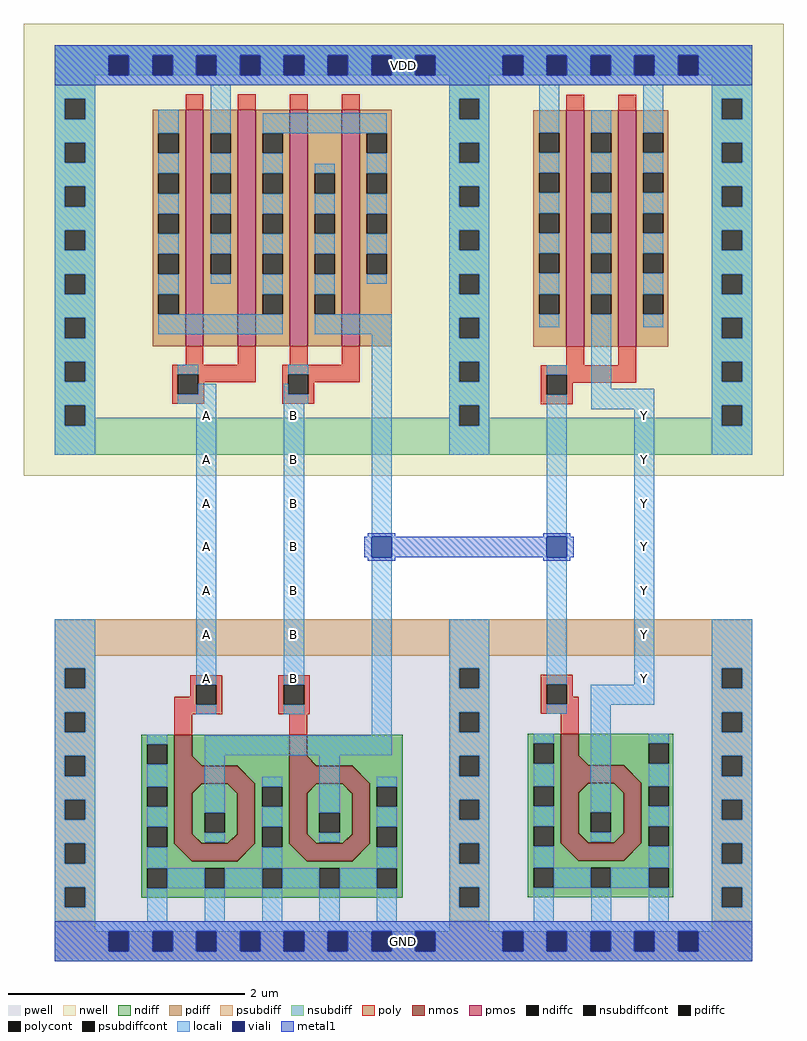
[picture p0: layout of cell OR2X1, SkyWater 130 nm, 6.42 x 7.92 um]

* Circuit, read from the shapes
.subckt OR2X1 Y A B VDD GND
XM1 GND A n1 GND sky130_fd_pr__nfet_01v8 w=2.56 l=0.1473
XM2 GND B n1 GND sky130_fd_pr__nfet_01v8 w=2.56 l=0.1468
XM3 GND n1 Y GND sky130_fd_pr__nfet_01v8 w=2.56 l=0.1516
XM4 VDD A n2 VDD sky130_fd_pr__pfet_01v8 w=2 l=0.15 m=2
XM5 n1 B n2 VDD sky130_fd_pr__pfet_01v8 w=2 l=0.15 m=2
XM6 Y n1 VDD VDD sky130_fd_pr__pfet_01v8 w=2 l=0.15 m=2
.ends

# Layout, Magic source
magic
tech sky130A
magscale 1 2
<< nwell >>
rect -87 786 1197 1550
<< pwell >>
rect -34 -34 1144 544
<< nmos >>
rect 168 296 198 349
tri 198 296 214 312 sw
rect 362 296 392 349
tri 392 296 408 312 sw
rect 168 266 274 296
tri 274 266 304 296 sw
rect 168 165 198 266
tri 198 250 214 266 nw
tri 258 250 274 266 ne
tri 198 165 214 181 sw
tri 258 165 274 181 se
rect 274 165 304 266
rect 362 266 468 296
tri 468 266 498 296 sw
rect 362 251 393 266
tri 393 251 408 266 nw
tri 452 251 467 266 ne
rect 467 251 498 266
tri 168 135 198 165 ne
rect 198 135 274 165
tri 274 135 304 165 nw
rect 362 165 392 251
tri 392 165 408 181 sw
tri 452 165 468 181 se
rect 468 165 498 251
tri 362 135 392 165 ne
rect 392 135 468 165
tri 468 135 498 165 nw
rect 821 297 851 350
tri 851 297 867 313 sw
rect 821 267 927 297
tri 927 267 957 297 sw
rect 821 166 851 267
tri 851 251 867 267 nw
tri 911 251 927 267 ne
tri 851 166 867 182 sw
tri 911 166 927 182 se
rect 927 166 957 267
tri 821 136 851 166 ne
rect 851 136 927 166
tri 927 136 957 166 nw
<< pmos >>
rect 187 1005 217 1405
rect 275 1005 305 1405
rect 363 1005 393 1405
rect 451 1005 481 1405
rect 830 1004 860 1404
rect 918 1004 948 1404
<< ndiff >>
rect 112 333 168 349
rect 112 299 122 333
rect 156 299 168 333
rect 112 261 168 299
rect 198 312 362 349
tri 198 296 214 312 ne
rect 214 296 362 312
rect 392 312 554 349
tri 392 296 408 312 ne
rect 408 296 554 312
tri 274 266 304 296 ne
rect 112 227 122 261
rect 156 227 168 261
rect 112 193 168 227
rect 112 159 122 193
rect 156 159 168 193
tri 198 250 214 266 se
rect 214 250 258 266
tri 258 250 274 266 sw
rect 198 217 274 250
rect 198 183 219 217
rect 253 183 274 217
rect 198 181 274 183
tri 198 165 214 181 ne
rect 214 165 258 181
tri 258 165 274 181 nw
rect 304 261 362 296
tri 468 266 498 296 ne
rect 304 227 316 261
rect 350 227 362 261
tri 393 251 408 266 se
rect 408 251 452 266
tri 452 251 467 266 sw
rect 498 261 554 296
rect 304 193 362 227
rect 112 135 168 159
tri 168 135 198 165 sw
tri 274 135 304 165 se
rect 304 159 316 193
rect 350 159 362 193
rect 392 217 468 251
rect 392 183 413 217
rect 447 183 468 217
rect 392 181 468 183
tri 392 165 408 181 ne
rect 408 165 452 181
tri 452 165 468 181 nw
rect 498 227 510 261
rect 544 227 554 261
rect 498 193 554 227
rect 304 135 362 159
tri 362 135 392 165 sw
tri 468 135 498 165 se
rect 498 159 510 193
rect 544 159 554 193
rect 498 135 554 159
rect 112 123 554 135
rect 112 89 122 123
rect 156 89 219 123
rect 253 89 316 123
rect 350 89 413 123
rect 447 89 510 123
rect 544 89 554 123
rect 112 73 554 89
rect 765 334 821 350
rect 765 300 775 334
rect 809 300 821 334
rect 765 262 821 300
rect 851 334 1011 350
rect 851 313 969 334
tri 851 297 867 313 ne
rect 867 300 969 313
rect 1003 300 1011 334
rect 867 297 1011 300
tri 927 267 957 297 ne
rect 765 228 775 262
rect 809 228 821 262
rect 765 194 821 228
rect 765 160 775 194
rect 809 160 821 194
tri 851 251 867 267 se
rect 867 251 911 267
tri 911 251 927 267 sw
rect 851 218 927 251
rect 851 184 871 218
rect 905 184 927 218
rect 851 182 927 184
tri 851 166 867 182 ne
rect 867 166 911 182
tri 911 166 927 182 nw
rect 957 262 1011 297
rect 957 228 969 262
rect 1003 228 1011 262
rect 957 194 1011 228
rect 765 136 821 160
tri 821 136 851 166 sw
tri 927 136 957 166 se
rect 957 160 969 194
rect 1003 160 1011 194
rect 957 136 1011 160
rect 765 124 1011 136
rect 765 90 775 124
rect 809 90 871 124
rect 905 90 969 124
rect 1003 90 1011 124
rect 765 74 1011 90
<< pdiff >>
rect 131 1365 187 1405
rect 131 1331 141 1365
rect 175 1331 187 1365
rect 131 1297 187 1331
rect 131 1263 141 1297
rect 175 1263 187 1297
rect 131 1229 187 1263
rect 131 1195 141 1229
rect 175 1195 187 1229
rect 131 1161 187 1195
rect 131 1127 141 1161
rect 175 1127 187 1161
rect 131 1093 187 1127
rect 131 1059 141 1093
rect 175 1059 187 1093
rect 131 1005 187 1059
rect 217 1365 275 1405
rect 217 1331 229 1365
rect 263 1331 275 1365
rect 217 1297 275 1331
rect 217 1263 229 1297
rect 263 1263 275 1297
rect 217 1229 275 1263
rect 217 1195 229 1229
rect 263 1195 275 1229
rect 217 1161 275 1195
rect 217 1127 229 1161
rect 263 1127 275 1161
rect 217 1005 275 1127
rect 305 1365 363 1405
rect 305 1331 317 1365
rect 351 1331 363 1365
rect 305 1297 363 1331
rect 305 1263 317 1297
rect 351 1263 363 1297
rect 305 1229 363 1263
rect 305 1195 317 1229
rect 351 1195 363 1229
rect 305 1161 363 1195
rect 305 1127 317 1161
rect 351 1127 363 1161
rect 305 1093 363 1127
rect 305 1059 317 1093
rect 351 1059 363 1093
rect 305 1005 363 1059
rect 393 1297 451 1405
rect 393 1263 405 1297
rect 439 1263 451 1297
rect 393 1229 451 1263
rect 393 1195 405 1229
rect 439 1195 451 1229
rect 393 1161 451 1195
rect 393 1127 405 1161
rect 439 1127 451 1161
rect 393 1093 451 1127
rect 393 1059 405 1093
rect 439 1059 451 1093
rect 393 1005 451 1059
rect 481 1365 535 1405
rect 481 1331 493 1365
rect 527 1331 535 1365
rect 481 1297 535 1331
rect 481 1263 493 1297
rect 527 1263 535 1297
rect 481 1229 535 1263
rect 481 1195 493 1229
rect 527 1195 535 1229
rect 481 1161 535 1195
rect 481 1127 493 1161
rect 527 1127 535 1161
rect 481 1005 535 1127
rect 774 1366 830 1404
rect 774 1332 784 1366
rect 818 1332 830 1366
rect 774 1298 830 1332
rect 774 1264 784 1298
rect 818 1264 830 1298
rect 774 1230 830 1264
rect 774 1196 784 1230
rect 818 1196 830 1230
rect 774 1162 830 1196
rect 774 1128 784 1162
rect 818 1128 830 1162
rect 774 1093 830 1128
rect 774 1059 784 1093
rect 818 1059 830 1093
rect 774 1004 830 1059
rect 860 1366 918 1404
rect 860 1332 872 1366
rect 906 1332 918 1366
rect 860 1298 918 1332
rect 860 1264 872 1298
rect 906 1264 918 1298
rect 860 1230 918 1264
rect 860 1196 872 1230
rect 906 1196 918 1230
rect 860 1162 918 1196
rect 860 1128 872 1162
rect 906 1128 918 1162
rect 860 1093 918 1128
rect 860 1059 872 1093
rect 906 1059 918 1093
rect 860 1004 918 1059
rect 948 1366 1002 1404
rect 948 1332 960 1366
rect 994 1332 1002 1366
rect 948 1298 1002 1332
rect 948 1264 960 1298
rect 994 1264 1002 1298
rect 948 1230 1002 1264
rect 948 1196 960 1230
rect 994 1196 1002 1230
rect 948 1162 1002 1196
rect 948 1128 960 1162
rect 994 1128 1002 1162
rect 948 1093 1002 1128
rect 948 1059 960 1093
rect 994 1059 1002 1093
rect 948 1004 1002 1059
<< ndiffc >>
rect 122 299 156 333
rect 122 227 156 261
rect 122 159 156 193
rect 219 183 253 217
rect 316 227 350 261
rect 316 159 350 193
rect 413 183 447 217
rect 510 227 544 261
rect 510 159 544 193
rect 122 89 156 123
rect 219 89 253 123
rect 316 89 350 123
rect 413 89 447 123
rect 510 89 544 123
rect 775 300 809 334
rect 969 300 1003 334
rect 775 228 809 262
rect 775 160 809 194
rect 871 184 905 218
rect 969 228 1003 262
rect 969 160 1003 194
rect 775 90 809 124
rect 871 90 905 124
rect 969 90 1003 124
<< pdiffc >>
rect 141 1331 175 1365
rect 141 1263 175 1297
rect 141 1195 175 1229
rect 141 1127 175 1161
rect 141 1059 175 1093
rect 229 1331 263 1365
rect 229 1263 263 1297
rect 229 1195 263 1229
rect 229 1127 263 1161
rect 317 1331 351 1365
rect 317 1263 351 1297
rect 317 1195 351 1229
rect 317 1127 351 1161
rect 317 1059 351 1093
rect 405 1263 439 1297
rect 405 1195 439 1229
rect 405 1127 439 1161
rect 405 1059 439 1093
rect 493 1331 527 1365
rect 493 1263 527 1297
rect 493 1195 527 1229
rect 493 1127 527 1161
rect 784 1332 818 1366
rect 784 1264 818 1298
rect 784 1196 818 1230
rect 784 1128 818 1162
rect 784 1059 818 1093
rect 872 1332 906 1366
rect 872 1264 906 1298
rect 872 1196 906 1230
rect 872 1128 906 1162
rect 872 1059 906 1093
rect 960 1332 994 1366
rect 960 1264 994 1298
rect 960 1196 994 1230
rect 960 1128 994 1162
rect 960 1059 994 1093
<< psubdiff >>
rect -34 482 1144 544
rect -34 461 34 482
rect -34 427 -17 461
rect 17 427 34 461
rect 632 461 700 482
rect -34 387 34 427
rect -34 353 -17 387
rect 17 353 34 387
rect -34 313 34 353
rect 632 427 649 461
rect 683 427 700 461
rect 1076 461 1144 482
rect 632 387 700 427
rect 632 353 649 387
rect 683 353 700 387
rect 1076 427 1093 461
rect 1127 427 1144 461
rect -34 279 -17 313
rect 17 279 34 313
rect -34 239 34 279
rect -34 205 -17 239
rect 17 205 34 239
rect -34 165 34 205
rect -34 131 -17 165
rect 17 131 34 165
rect -34 91 34 131
rect -34 57 -17 91
rect 17 57 34 91
rect 632 313 700 353
rect 1076 387 1144 427
rect 1076 353 1093 387
rect 1127 353 1144 387
rect 632 279 649 313
rect 683 279 700 313
rect 632 239 700 279
rect 632 205 649 239
rect 683 205 700 239
rect 632 165 700 205
rect 632 131 649 165
rect 683 131 700 165
rect 632 91 700 131
rect -34 17 34 57
rect 632 57 649 91
rect 683 57 700 91
rect 1076 313 1144 353
rect 1076 279 1093 313
rect 1127 279 1144 313
rect 1076 239 1144 279
rect 1076 205 1093 239
rect 1127 205 1144 239
rect 1076 165 1144 205
rect 1076 131 1093 165
rect 1127 131 1144 165
rect 1076 91 1144 131
rect 632 17 700 57
rect 1076 57 1093 91
rect 1127 57 1144 91
rect 1076 17 1144 57
rect -34 -17 57 17
rect 91 -17 131 17
rect 165 -17 205 17
rect 239 -17 279 17
rect 313 -17 353 17
rect 387 -17 427 17
rect 461 -17 501 17
rect 535 -17 575 17
rect 609 -17 723 17
rect 757 -17 797 17
rect 831 -17 871 17
rect 905 -17 945 17
rect 979 -17 1019 17
rect 1053 -17 1144 17
rect -34 -34 1144 -17
<< nsubdiff >>
rect -34 1497 1144 1514
rect -34 1463 57 1497
rect 91 1463 131 1497
rect 165 1463 205 1497
rect 239 1463 279 1497
rect 313 1463 353 1497
rect 387 1463 427 1497
rect 461 1463 501 1497
rect 535 1463 575 1497
rect 609 1463 723 1497
rect 757 1463 797 1497
rect 831 1463 871 1497
rect 905 1463 945 1497
rect 979 1463 1019 1497
rect 1053 1463 1144 1497
rect -34 1423 34 1463
rect -34 1389 -17 1423
rect 17 1389 34 1423
rect 632 1423 700 1463
rect -34 1349 34 1389
rect -34 1315 -17 1349
rect 17 1315 34 1349
rect -34 1275 34 1315
rect -34 1241 -17 1275
rect 17 1241 34 1275
rect -34 1201 34 1241
rect -34 1167 -17 1201
rect 17 1167 34 1201
rect -34 1127 34 1167
rect -34 1093 -17 1127
rect 17 1093 34 1127
rect -34 1053 34 1093
rect -34 1019 -17 1053
rect 17 1019 34 1053
rect -34 979 34 1019
rect 632 1389 649 1423
rect 683 1389 700 1423
rect 1076 1423 1144 1463
rect 632 1349 700 1389
rect 632 1315 649 1349
rect 683 1315 700 1349
rect 632 1275 700 1315
rect 632 1241 649 1275
rect 683 1241 700 1275
rect 632 1201 700 1241
rect 632 1167 649 1201
rect 683 1167 700 1201
rect 632 1127 700 1167
rect 632 1093 649 1127
rect 683 1093 700 1127
rect 632 1053 700 1093
rect 632 1019 649 1053
rect 683 1019 700 1053
rect -34 945 -17 979
rect 17 945 34 979
rect -34 905 34 945
rect 632 979 700 1019
rect 1076 1389 1093 1423
rect 1127 1389 1144 1423
rect 1076 1349 1144 1389
rect 1076 1315 1093 1349
rect 1127 1315 1144 1349
rect 1076 1275 1144 1315
rect 1076 1241 1093 1275
rect 1127 1241 1144 1275
rect 1076 1201 1144 1241
rect 1076 1167 1093 1201
rect 1127 1167 1144 1201
rect 1076 1127 1144 1167
rect 1076 1093 1093 1127
rect 1127 1093 1144 1127
rect 1076 1053 1144 1093
rect 1076 1019 1093 1053
rect 1127 1019 1144 1053
rect 632 945 649 979
rect 683 945 700 979
rect -34 871 -17 905
rect 17 884 34 905
rect 632 905 700 945
rect 1076 979 1144 1019
rect 1076 945 1093 979
rect 1127 945 1144 979
rect 632 884 649 905
rect 17 871 649 884
rect 683 884 700 905
rect 1076 905 1144 945
rect 1076 884 1093 905
rect 683 871 1093 884
rect 1127 871 1144 905
rect -34 822 1144 871
<< psubdiffcont >>
rect -17 427 17 461
rect -17 353 17 387
rect 649 427 683 461
rect 649 353 683 387
rect 1093 427 1127 461
rect -17 279 17 313
rect -17 205 17 239
rect -17 131 17 165
rect -17 57 17 91
rect 1093 353 1127 387
rect 649 279 683 313
rect 649 205 683 239
rect 649 131 683 165
rect 649 57 683 91
rect 1093 279 1127 313
rect 1093 205 1127 239
rect 1093 131 1127 165
rect 1093 57 1127 91
rect 57 -17 91 17
rect 131 -17 165 17
rect 205 -17 239 17
rect 279 -17 313 17
rect 353 -17 387 17
rect 427 -17 461 17
rect 501 -17 535 17
rect 575 -17 609 17
rect 723 -17 757 17
rect 797 -17 831 17
rect 871 -17 905 17
rect 945 -17 979 17
rect 1019 -17 1053 17
<< nsubdiffcont >>
rect 57 1463 91 1497
rect 131 1463 165 1497
rect 205 1463 239 1497
rect 279 1463 313 1497
rect 353 1463 387 1497
rect 427 1463 461 1497
rect 501 1463 535 1497
rect 575 1463 609 1497
rect 723 1463 757 1497
rect 797 1463 831 1497
rect 871 1463 905 1497
rect 945 1463 979 1497
rect 1019 1463 1053 1497
rect -17 1389 17 1423
rect -17 1315 17 1349
rect -17 1241 17 1275
rect -17 1167 17 1201
rect -17 1093 17 1127
rect -17 1019 17 1053
rect 649 1389 683 1423
rect 649 1315 683 1349
rect 649 1241 683 1275
rect 649 1167 683 1201
rect 649 1093 683 1127
rect 649 1019 683 1053
rect -17 945 17 979
rect 1093 1389 1127 1423
rect 1093 1315 1127 1349
rect 1093 1241 1127 1275
rect 1093 1167 1127 1201
rect 1093 1093 1127 1127
rect 1093 1019 1127 1053
rect 649 945 683 979
rect -17 871 17 905
rect 1093 945 1127 979
rect 649 871 683 905
rect 1093 871 1127 905
<< poly >>
rect 187 1405 217 1431
rect 275 1405 305 1431
rect 363 1405 393 1431
rect 451 1405 481 1431
rect 830 1404 860 1430
rect 918 1404 948 1430
rect 187 974 217 1005
rect 275 974 305 1005
rect 363 974 393 1005
rect 451 974 481 1005
rect 164 958 305 974
rect 164 924 174 958
rect 208 944 305 958
rect 350 958 481 974
rect 208 924 218 944
rect 164 908 218 924
rect 350 924 360 958
rect 394 944 481 958
rect 830 973 860 1004
rect 918 973 948 1004
rect 394 924 404 944
rect 350 908 404 924
rect 787 957 948 973
rect 787 923 797 957
rect 831 943 948 957
rect 831 923 841 943
rect 787 907 841 923
rect 195 433 249 449
rect 195 413 205 433
rect 168 399 205 413
rect 239 399 249 433
rect 168 383 249 399
rect 343 433 397 449
rect 343 399 353 433
rect 387 399 397 433
rect 343 383 397 399
rect 168 349 198 383
rect 362 349 392 383
rect 787 434 841 450
rect 787 400 797 434
rect 831 413 841 434
rect 831 400 851 413
rect 787 384 851 400
rect 821 350 851 384
<< polycont >>
rect 174 924 208 958
rect 360 924 394 958
rect 797 923 831 957
rect 205 399 239 433
rect 353 399 387 433
rect 797 400 831 434
<< locali >>
rect -34 1497 1144 1514
rect -34 1463 57 1497
rect 91 1463 131 1497
rect 165 1463 205 1497
rect 239 1463 279 1497
rect 313 1463 353 1497
rect 387 1463 427 1497
rect 461 1463 501 1497
rect 535 1463 575 1497
rect 609 1463 723 1497
rect 757 1463 797 1497
rect 831 1463 871 1497
rect 905 1463 945 1497
rect 979 1463 1019 1497
rect 1053 1463 1144 1497
rect -34 1446 1144 1463
rect -34 1423 34 1446
rect -34 1389 -17 1423
rect 17 1389 34 1423
rect -34 1349 34 1389
rect -34 1315 -17 1349
rect 17 1315 34 1349
rect -34 1275 34 1315
rect -34 1241 -17 1275
rect 17 1241 34 1275
rect -34 1201 34 1241
rect -34 1167 -17 1201
rect 17 1167 34 1201
rect -34 1127 34 1167
rect -34 1093 -17 1127
rect 17 1093 34 1127
rect -34 1053 34 1093
rect -34 1019 -17 1053
rect 17 1019 34 1053
rect 141 1365 175 1405
rect 141 1297 175 1331
rect 141 1229 175 1263
rect 141 1161 175 1195
rect 141 1093 175 1127
rect 229 1365 263 1446
rect 632 1423 700 1446
rect 229 1297 263 1331
rect 229 1229 263 1263
rect 229 1161 263 1195
rect 229 1111 263 1127
rect 317 1365 527 1399
rect 317 1297 351 1331
rect 317 1229 351 1263
rect 317 1161 351 1195
rect 317 1093 351 1127
rect 141 1025 351 1059
rect 405 1297 439 1313
rect 405 1229 439 1263
rect 405 1161 439 1195
rect 405 1093 439 1127
rect 493 1297 527 1331
rect 493 1229 527 1263
rect 493 1161 527 1195
rect 493 1111 527 1127
rect 632 1389 649 1423
rect 683 1389 700 1423
rect 632 1349 700 1389
rect 632 1315 649 1349
rect 683 1315 700 1349
rect 632 1275 700 1315
rect 632 1241 649 1275
rect 683 1241 700 1275
rect 632 1201 700 1241
rect 632 1167 649 1201
rect 683 1167 700 1201
rect 632 1127 700 1167
rect 632 1093 649 1127
rect 683 1093 700 1127
rect 405 1025 535 1059
rect -34 979 34 1019
rect -34 945 -17 979
rect 17 945 34 979
rect -34 905 34 945
rect 174 958 208 974
rect 360 958 394 974
rect 208 924 239 942
rect 174 908 239 924
rect -34 871 -17 905
rect 17 871 34 905
rect -34 822 34 871
rect -34 461 34 544
rect -34 427 -17 461
rect 17 427 34 461
rect -34 387 34 427
rect -34 353 -17 387
rect 17 353 34 387
rect 205 433 239 908
rect 205 383 239 399
rect 353 924 360 942
rect 353 908 394 924
rect 353 433 387 908
rect 353 383 387 399
rect 501 683 535 1025
rect 632 1053 700 1093
rect 632 1019 649 1053
rect 683 1019 700 1053
rect 784 1366 818 1446
rect 784 1298 818 1332
rect 784 1230 818 1264
rect 784 1162 818 1196
rect 784 1093 818 1128
rect 784 1037 818 1059
rect 872 1366 906 1404
rect 872 1298 906 1332
rect 872 1230 906 1264
rect 872 1162 906 1196
rect 872 1093 906 1128
rect 632 979 700 1019
rect 632 945 649 979
rect 683 945 700 979
rect 632 905 700 945
rect 632 871 649 905
rect 683 871 700 905
rect 632 822 700 871
rect 797 957 831 973
rect -34 313 34 353
rect -34 279 -17 313
rect 17 279 34 313
rect -34 239 34 279
rect -34 205 -17 239
rect 17 205 34 239
rect -34 165 34 205
rect -34 131 -17 165
rect 17 131 34 165
rect -34 91 34 131
rect -34 57 -17 91
rect 17 57 34 91
rect -34 34 34 57
rect 122 333 156 349
rect 501 348 535 649
rect 797 683 831 923
rect 872 933 906 1059
rect 960 1366 994 1446
rect 960 1298 994 1332
rect 960 1230 994 1264
rect 960 1162 994 1196
rect 960 1093 994 1128
rect 960 1037 994 1059
rect 1076 1423 1144 1446
rect 1076 1389 1093 1423
rect 1127 1389 1144 1423
rect 1076 1349 1144 1389
rect 1076 1315 1093 1349
rect 1127 1315 1144 1349
rect 1076 1275 1144 1315
rect 1076 1241 1093 1275
rect 1127 1241 1144 1275
rect 1076 1201 1144 1241
rect 1076 1167 1093 1201
rect 1127 1167 1144 1201
rect 1076 1127 1144 1167
rect 1076 1093 1093 1127
rect 1127 1093 1144 1127
rect 1076 1053 1144 1093
rect 1076 1019 1093 1053
rect 1127 1019 1144 1053
rect 1076 979 1144 1019
rect 1076 945 1093 979
rect 1127 945 1144 979
rect 872 899 979 933
rect 122 261 156 299
rect 122 193 156 227
rect 219 314 535 348
rect 632 461 700 544
rect 632 427 649 461
rect 683 427 700 461
rect 632 387 700 427
rect 632 353 649 387
rect 683 353 700 387
rect 797 434 831 649
rect 945 433 979 899
rect 1076 905 1144 945
rect 1076 871 1093 905
rect 1127 871 1144 905
rect 1076 822 1144 871
rect 797 384 831 400
rect 871 399 979 433
rect 1076 461 1144 544
rect 1076 427 1093 461
rect 1127 427 1144 461
rect 219 217 253 314
rect 219 167 253 183
rect 316 261 350 278
rect 316 193 350 227
rect 122 123 156 159
rect 413 217 447 314
rect 632 313 700 353
rect 632 279 649 313
rect 683 279 700 313
rect 413 167 447 183
rect 510 261 544 278
rect 510 193 544 227
rect 316 123 350 159
rect 510 123 544 159
rect 156 89 219 123
rect 253 89 316 123
rect 350 89 413 123
rect 447 89 510 123
rect 122 34 156 89
rect 219 34 253 89
rect 316 34 350 89
rect 413 34 447 89
rect 510 34 544 89
rect 632 239 700 279
rect 632 205 649 239
rect 683 205 700 239
rect 632 165 700 205
rect 632 131 649 165
rect 683 131 700 165
rect 632 91 700 131
rect 632 57 649 91
rect 683 57 700 91
rect 632 34 700 57
rect 775 334 809 350
rect 775 262 809 300
rect 775 194 809 228
rect 871 218 905 399
rect 1076 387 1144 427
rect 1076 353 1093 387
rect 1127 353 1144 387
rect 871 168 905 184
rect 969 334 1003 350
rect 969 262 1003 300
rect 969 194 1003 228
rect 775 124 809 160
rect 969 124 1003 160
rect 809 90 871 124
rect 905 90 969 124
rect 775 34 809 90
rect 872 34 906 90
rect 969 34 1003 90
rect 1076 313 1144 353
rect 1076 279 1093 313
rect 1127 279 1144 313
rect 1076 239 1144 279
rect 1076 205 1093 239
rect 1127 205 1144 239
rect 1076 165 1144 205
rect 1076 131 1093 165
rect 1127 131 1144 165
rect 1076 91 1144 131
rect 1076 57 1093 91
rect 1127 57 1144 91
rect 1076 34 1144 57
rect -34 17 1144 34
rect -34 -17 57 17
rect 91 -17 131 17
rect 165 -17 205 17
rect 239 -17 279 17
rect 313 -17 353 17
rect 387 -17 427 17
rect 461 -17 501 17
rect 535 -17 575 17
rect 609 -17 723 17
rect 757 -17 797 17
rect 831 -17 871 17
rect 905 -17 945 17
rect 979 -17 1019 17
rect 1053 -17 1144 17
rect -34 -34 1144 -17
<< viali >>
rect 57 1463 91 1497
rect 131 1463 165 1497
rect 205 1463 239 1497
rect 279 1463 313 1497
rect 353 1463 387 1497
rect 427 1463 461 1497
rect 501 1463 535 1497
rect 575 1463 609 1497
rect 723 1463 757 1497
rect 797 1463 831 1497
rect 871 1463 905 1497
rect 945 1463 979 1497
rect 1019 1463 1053 1497
rect 501 649 535 683
rect 797 649 831 683
rect 57 -17 91 17
rect 131 -17 165 17
rect 205 -17 239 17
rect 279 -17 313 17
rect 353 -17 387 17
rect 427 -17 461 17
rect 501 -17 535 17
rect 575 -17 609 17
rect 723 -17 757 17
rect 797 -17 831 17
rect 871 -17 905 17
rect 945 -17 979 17
rect 1019 -17 1053 17
<< metal1 >>
rect -34 1497 1144 1514
rect -34 1463 57 1497
rect 91 1463 131 1497
rect 165 1463 205 1497
rect 239 1463 279 1497
rect 313 1463 353 1497
rect 387 1463 427 1497
rect 461 1463 501 1497
rect 535 1463 575 1497
rect 609 1463 723 1497
rect 757 1463 797 1497
rect 831 1463 871 1497
rect 905 1463 945 1497
rect 979 1463 1019 1497
rect 1053 1463 1144 1497
rect -34 1446 1144 1463
rect 495 683 541 689
rect 791 683 837 689
rect 489 649 501 683
rect 535 649 797 683
rect 831 649 843 683
rect 495 643 541 649
rect 791 643 837 649
rect -34 17 1144 34
rect -34 -17 57 17
rect 91 -17 131 17
rect 165 -17 205 17
rect 239 -17 279 17
rect 313 -17 353 17
rect 387 -17 427 17
rect 461 -17 501 17
rect 535 -17 575 17
rect 609 -17 723 17
rect 757 -17 797 17
rect 831 -17 871 17
rect 905 -17 945 17
rect 979 -17 1019 17
rect 1053 -17 1144 17
rect -34 -34 1144 -17
<< labels >>
rlabel locali 945 427 979 461 1 Y
port 1 nsew signal output
rlabel locali 945 501 979 535 1 Y
port 1 nsew signal output
rlabel locali 945 575 979 609 1 Y
port 1 nsew signal output
rlabel locali 945 649 979 683 1 Y
port 1 nsew signal output
rlabel locali 945 723 979 757 1 Y
port 1 nsew signal output
rlabel locali 945 797 979 831 1 Y
port 1 nsew signal output
rlabel locali 945 871 979 905 1 Y
port 1 nsew signal output
rlabel locali 205 871 239 905 1 A
port 2 nsew signal input
rlabel locali 205 797 239 831 1 A
port 2 nsew signal input
rlabel locali 205 723 239 757 1 A
port 2 nsew signal input
rlabel locali 205 649 239 683 1 A
port 2 nsew signal input
rlabel locali 205 575 239 609 1 A
port 2 nsew signal input
rlabel locali 205 501 239 535 1 A
port 2 nsew signal input
rlabel locali 205 427 239 461 1 A
port 2 nsew signal input
rlabel locali 353 871 387 905 1 B
port 3 nsew signal input
rlabel locali 353 797 387 831 1 B
port 3 nsew signal input
rlabel locali 353 723 387 757 1 B
port 3 nsew signal input
rlabel locali 353 649 387 683 1 B
port 3 nsew signal input
rlabel locali 353 575 387 609 1 B
port 3 nsew signal input
rlabel locali 353 501 387 535 1 B
port 3 nsew signal input
rlabel locali 353 427 387 461 1 B
port 3 nsew signal input
rlabel metal1 -34 1446 1144 1514 1 VDD
port 4 nsew power bidirectional abutment
rlabel metal1 -34 -34 1144 34 1 GND
port 5 nsew ground bidirectional abutment
<< end >>
